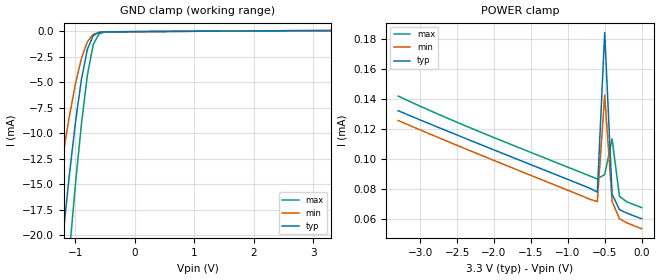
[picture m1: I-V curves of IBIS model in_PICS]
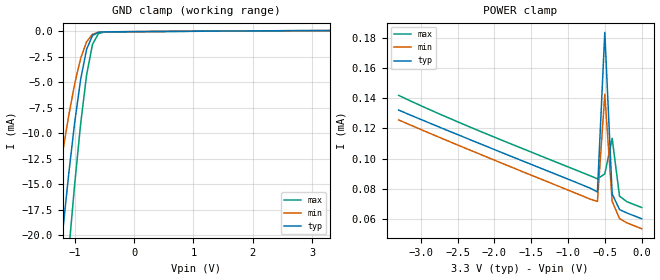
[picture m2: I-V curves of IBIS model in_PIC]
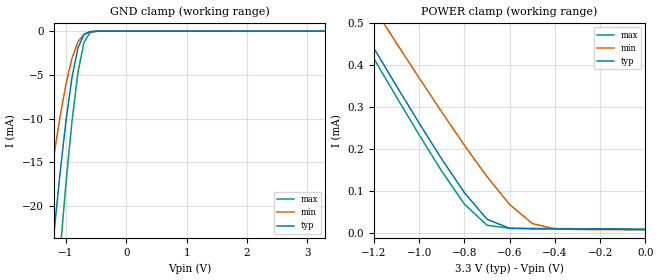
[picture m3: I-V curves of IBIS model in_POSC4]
[IBIS ver]   2.1
[File name]   k8041ftl.ibs
[File Rev]   0.1
[Date]   12/11/2006
[Source]   Made By 0.18um ANAM HSPICE model.
[Notes]		 Pass Golden Parser ibischk4
[Disclaimer]   This information is for modeling purposes only and is not
   guaranteed.
[Copyright]   Copyright 2006, Micrel - Kendin, All Rights Reserved.
|   Component k8041ftl
[Component]   k8041ftl
[Manufacturer]   ANAM
[Package]
| variable   typ   min   max
R_pkg   0.097   0.083   0.105
L_pkg   2.54nH   2.19nH   2.99nH
C_pkg   0.343pF   0.313pF   0.364pF
| Note: 48 pin. TQFP package.
[Pin]   signal_name   model_name   R_pin   L_pin   C_pin
1   GND		GND
2   GND		GND
3   GND		GND
4   VDDA_18		POWER
5   VDDA_18		POWER
6   V18_OUT		POWER
7		VDDA_33		POWER
8		VDDA_33		POWER
9		RXM		rxtxpad
10		RXP		rxtxpad
11		TXM		rxtxpad
12		TXP		rxtxpad
13   GND		GND
14		XO		out_POSC4
15		XI		in_POSC4
16		REXT		in_Rextpad
17   GND		GND
18		MDIO		tri_PBCOCU16A
19		MDC		in_PIC
20		RXD3		tri_PBCCTU16A
21		RXD2		tri_PBCCTD16A
22		RXD1		tri_PBCCTD16A
23		RXD0		tri_PBCCTU16A
24   GND		GND
25		VDDIO_33	POWER
26		VDDIO_33	POWER
27		RXDV		tri_PBCCTD16A
28		RXC		tri_PBCCT16A
29		RXER		tri_PBCCTD16A
30   GND		GND
31		VDD_18		POWER
32		INTRP		out_POCT16A
33		TXC		tri_PBCCT16A
34		TXEN		in_PIC
35		TXD0		in_PIC
36		TXD1		in_PIC
37   GND		GND
38		TXD2		in_PIC
39		TXD3		in_PIC
40		COL		tri_PBCCTD16A
41		CRS		tri_PBCCTD16A
42		LED0		tri_PBCCTU16A
43		LED1		tri_PBCCTU16A
44		NC		NC
45		NC		NC
46		NC		NC
47		RST		in_PICS
48		FXSD		in_PIC
| Models and submodels in the file (11): in_PICS (Input), in_PIC (Input), in_POSC4 (Input), in_Rextpad (Input), out_POSC4 (Output), out_POCT16A (Output), tri_PBCCT16A (I/O), tri_PBCCTU16A (I/O), tri_PBCCTD16A (I/O), tri_PBCOCU16A (I/O), rxtxpad (Input)
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|   Model in_PICS
[Model]   in_PICS
Model_type   Input
Polarity   Non-Inverting
Vinl =   0.8V
Vinh =   2.0V
C_comp   6.23e-12F   6.23e-12F   6.23e-12F
[Temperature Range]   25   125   0
[Voltage Range]   3.30V   3.00V   3.60V
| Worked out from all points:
|   GND clamp passes 1 mA (typ) near -0.74 V on its own axis
[POWER_clamp]
| voltage   I(typ)   I(min)   I(max)
-3.3V     132.2uA    125.7uA    142uA
-2.3V     112uA      105uA      120.3uA
-800mV    82.39uA    75.12uA    90.58uA
-600mV    77.82uA    71.55uA    86.59uA
-500mV    184.5uA    142.7uA    89.61uA
-400mV    76.55uA    71.63uA    113.4uA
-300mV    66.14uA    60.14uA    75.01uA
-200mV    63.86uA    57.32uA    71.36uA
0V        60.04uA    53.45uA    67.52uA
[GND_clamp]
| voltage   I(typ)   I(min)   I(max)
-3.3V     -167.1mA   -116.3mA   -199.9mA
-1.4V     -31.87mA   -19.81mA   -43.85mA
-1.2V     -19.6mA    -11.83mA   -28.73mA
-1.1V     -14.01mA   -8.287mA   -21.64mA
-1V       -8.977mA   -5.179mA   -15.04mA
-900mV    -4.762mA   -2.686mA   -9.139mA
-800mV    -1.795mA   -1.042mA   -4.339mA
-700mV    -424.2uA   -301.9uA   -1.295mA
-600mV    -108.9uA   -103uA     -243uA
-500mV    -67.56uA   -65.47uA   -81.82uA
3.3V      60.04uA    60.14uA    61.81uA
|   Model in_PIC
[Model]   in_PIC
Model_type   Input
Polarity   Non-Inverting
Vinl =   0.8V
Vinh =   2.0V
C_comp   6.23e-12F   6.23e-12F   6.23e-12F
[Temperature Range]   25   125   0
[Voltage Range]   3.30V   3.00V   3.60V
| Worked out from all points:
|   GND clamp passes 1 mA (typ) near -0.74 V on its own axis
[POWER_clamp]
| voltage   I(typ)   I(min)   I(max)
-3.3V     132.2uA    125.6uA    142uA
-2.3V     111.9uA    105uA      120.3uA
-800mV    82.38uA    75.11uA    90.57uA
-600mV    77.81uA    71.54uA    86.57uA
-500mV    183.8uA    142.7uA    89.83uA
-400mV    76.54uA    71.63uA    113.4uA
-300mV    66.14uA    60.14uA    75.01uA
-200mV    63.86uA    57.32uA    71.36uA
0V        60.04uA    53.45uA    67.52uA
[GND_clamp]
| voltage   I(typ)   I(min)   I(max)
-3.3V     -167.1mA   -116.3mA   -199.9mA
-1.4V     -31.87mA   -19.81mA   -43.85mA
-1.2V     -19.6mA    -11.83mA   -28.73mA
-1.1V     -14.01mA   -8.287mA   -21.64mA
-1V       -8.977mA   -5.179mA   -15.04mA
-900mV    -4.762mA   -2.686mA   -9.139mA
-800mV    -1.795mA   -1.042mA   -4.339mA
-700mV    -424.2uA   -301.9uA   -1.295mA
-600mV    -108.9uA   -103uA     -243uA
-500mV    -67.56uA   -65.47uA   -81.82uA
3.3V      60.04uA    60.14uA    61.81uA
|   Model in_POSC4
[Model]   in_POSC4
Model_type   Input
Polarity   Non-Inverting
Vinl =   0.8V
Vinh =   2.0V
C_comp   1.76e-12F   1.76e-12F   1.76e-12F
[Temperature Range]   25   125   0
[Voltage Range]   3.30V   3.00V   3.60V
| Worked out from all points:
|   GND clamp passes 1 mA (typ) near -0.74 V on its own axis
|   POWER clamp passes 1 mA (typ) near -1.81 V on its own axis
[POWER_clamp]
| voltage   I(typ)   I(min)   I(max)
-3.3V     2.409mA    2.358mA    2.424mA
-1.3V     532uA      621.1uA    509.2uA
-1.2V     441uA      536.6uA    416.4uA
-1.1V     351uA      452.9uA    324.6uA
-1V       262.6uA    370.2uA    234.7uA
-900mV    177uA      289uA      148.3uA
-800mV    97.24uA    210uA      70.14uA
-700mV    33.92uA    135.1uA    19.59uA
-600mV    12.4uA     68.92uA    12.37uA
-500mV    11.09uA    23.73uA    11.94uA
-400mV    10.77uA    10.96uA    11.64uA
0V        9.57uA     8.7uA      10.44uA
[GND_clamp]
| voltage   I(typ)   I(min)   I(max)
-3.3V     -205.3mA   -146mA     -244.9mA
-1.4V     -38.46mA   -24.33mA   -53.03mA
-1.3V     -30.67mA   -19.15mA   -43.5mA
-1.2V     -23.28mA   -14.32mA   -34.3mA
-1.1V     -16.44mA   -9.923mA   -25.57mA
-1V       -10.34mA   -6.117mA   -17.49mA
-900mV    -5.324mA   -3.124mA   -10.37mA
-800mV    -1.898mA   -1.208mA   -4.707mA
-700mV    -379.1uA   -357uA     -1.27mA
-600mV    -42.73uA   -97.62uA   -170.5uA
-500mV    -4.424uA   -20.6uA    -14.21uA
3.3V      9.57uA     9.657uA    9.54uA
